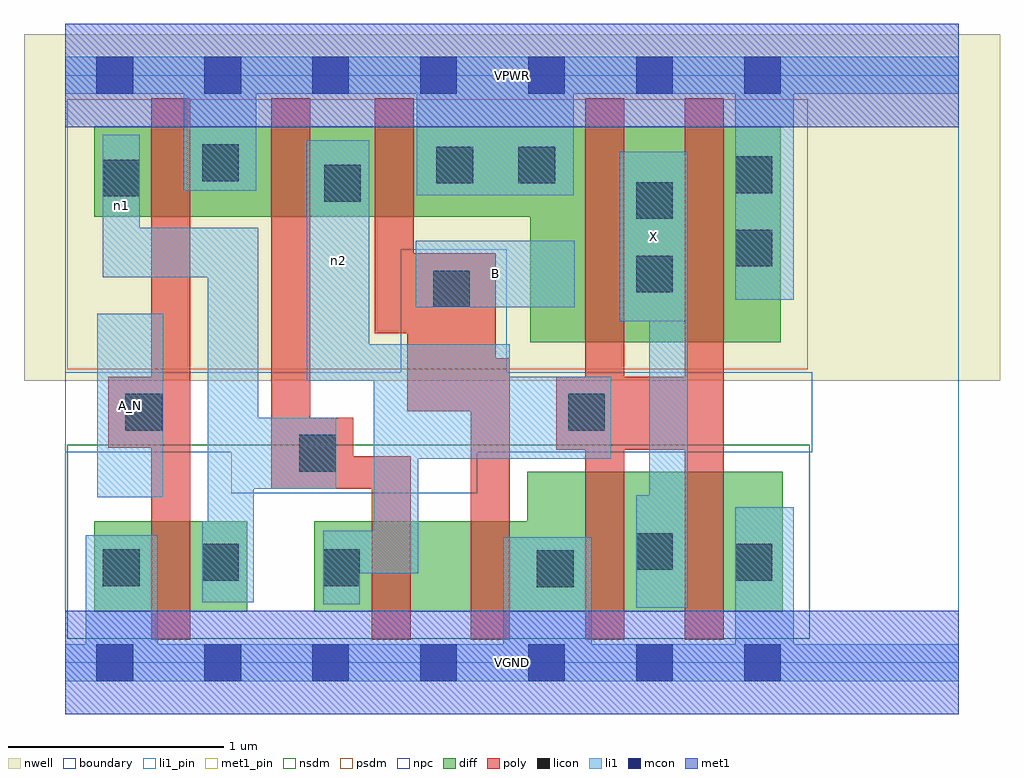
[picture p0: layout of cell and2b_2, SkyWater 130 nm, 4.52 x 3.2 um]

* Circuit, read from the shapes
.subckt and2b_2 A_N B VGND VPWR X n1 n2
XM1 n1 A_N VGND VSUBS sky130_fd_pr__nfet_01v8 w=0.42 l=0.18
XM2 n3 n1 n2 VSUBS sky130_fd_pr__nfet_01v8 w=0.42 l=0.18
XM3 VGND B n3 VSUBS sky130_fd_pr__nfet_01v8 w=0.42 l=0.18
XM4 X n2 VGND VSUBS sky130_fd_pr__nfet_01v8 w=0.65 l=0.18 m=2
XM5 VPWR A_N n1 n4 sky130_fd_pr__pfet_01v8 w=0.42 l=0.18
XM6 n2 n1 VPWR n4 sky130_fd_pr__pfet_01v8 w=0.42 l=0.18
XM7 VPWR B n2 n4 sky130_fd_pr__pfet_01v8 w=0.42 l=0.18
XM8 X n2 VPWR n4 sky130_fd_pr__pfet_01v8 w=1 l=0.18 m=2
.ends

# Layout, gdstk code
import gdstk
lib = gdstk.Library(unit=1e-6, precision=1e-09)
def R(c, l, rs):  # rectangles x0, y0, x1, y1
    for r in rs: c.add(gdstk.rectangle(r[:2], r[2:], *l))
def A(c, l, x, y, w, h, nx, ny, dx, dy):  # array of equal rectangles
    R(c, l, [(x+i*dx, y+j*dy, x+i*dx+w, y+j*dy+h) for i in range(nx) for j in range(ny)])
nwell = (64, 20)
diff = (65, 20)
poly = (66, 20)
licon = (66, 44)
li1_pin = (67, 16)
li1 = (67, 20)
mcon = (67, 44)
met1_pin = (68, 16)
met1 = (68, 20)
nsdm = (93, 44)
psdm = (94, 20)
npc = (95, 20)
boundary = (235, 4)

and2b_2 = lib.new_cell('and2b_2')
R(and2b_2, nwell, [(-0.19,1.305,4.33,2.91), (0,1.305,4.14,2.91)])
R(and2b_2, diff, [(0.135,0.235,0.845,0.655), (1.155,0.235,3.325,0.655), (2.14,0.235,3.325,0.885), (2.155,1.485,3.315,2.485), (0.135,2.065,3.315,2.485)])
R(and2b_2, poly, [(0.4,0.105,0.58,2.615), (1.42,0.105,1.6,0.955), (1.88,0.105,2.06,1.41), (2.41,0.105,2.59,2.615), (2.87,0.105,3.05,2.615), (0.955,0.805,1.335,1.135), (0.955,0.805,1.135,2.615), (0.955,0.805,1.6,0.955), (2.275,0.985,3.05,1.325), (0.2,0.995,0.58,1.325), (1.585,1.165,1.995,1.895), (1.435,1.525,1.615,2.615)])
R(and2b_2, licon, [(2.185,0.35,2.355,0.52), (0.175,0.355,0.345,0.525), (1.195,0.355,1.365,0.525), (0.635,0.38,0.805,0.55), (3.105,0.38,3.275,0.55), (2.645,0.43,2.815,0.6), (1.085,0.885,1.255,1.055), (0.28,1.075,0.45,1.245), (2.33,1.075,2.5,1.245), (1.705,1.645,1.875,1.815), (2.645,1.715,2.815,1.885), (3.105,1.835,3.275,2.005), (2.645,2.055,2.815,2.225), (1.2,2.135,1.37,2.305), (0.175,2.16,0.345,2.33), (3.105,2.175,3.275,2.345), (1.72,2.22,1.89,2.39), (2.1,2.22,2.27,2.39), (0.635,2.23,0.805,2.4)])
R(and2b_2, li1_pin, [(0.15,0.765,0.455,1.615), (2.57,1.58,2.885,2.365), (1.625,1.645,2.36,1.955)])
R(and2b_2, li1, [(0,-0.085,4.14,0.085), (0.095,-0.085,0.43,0.59), (2.03,-0.085,2.44,0.58), (3.105,-0.085,3.375,0.72), (2.645,0.255,2.885,0.775), (2.705,0.255,2.885,2.365), (1.195,0.27,1.365,0.61), (0.635,0.28,0.875,0.655), (0.66,0.28,0.875,2.015), (1.195,0.415,1.635,0.61), (1.43,0.415,1.635,1.475), (0.15,0.765,0.455,1.615), (0.66,0.805,1.255,1.135), (0.66,0.805,0.895,2.015), (1.43,0.945,2.53,1.325), (1.12,1.305,1.41,2.42), (1.12,1.305,2.06,1.475), (2.57,1.58,2.885,2.365), (1.625,1.645,2.36,1.955), (3.105,1.68,3.375,2.805), (0.175,1.785,0.345,2.445), (0.175,1.785,0.895,2.015), (1.63,2.165,2.355,2.805), (0.55,2.185,0.885,2.805), (0,2.635,4.14,2.805)])
A(and2b_2, mcon, 0.145, -0.085, 0.17, 0.17, 7, 2, 0.5, 2.72)
R(and2b_2, met1_pin, [(0,-0.24,4.14,0.24), (0,2.48,4.14,2.96)])
R(and2b_2, met1, [(0,-0.24,4.14,0.24), (0,2.48,4.14,2.96)])
R(and2b_2, nsdm, [(0.01,0.11,3.45,1.01)])
R(and2b_2, psdm, [(0.01,1.36,3.44,2.61)])
R(and2b_2, npc, [(0.77,0.785,1.91,1.345), (0,0.975,3.46,1.345), (1.555,0.975,2.045,1.915)])
R(and2b_2, boundary, [(0,0,4.14,2.72)])
and2b_2.add(gdstk.Label('A_N', (0.302,1.19), layer=67, texttype=5))
and2b_2.add(gdstk.Label('B', (1.992,1.8), layer=67, texttype=5))
and2b_2.add(gdstk.Label('X', (2.727,1.972), layer=67, texttype=5))
and2b_2.add(gdstk.Label('n2', (1.265,1.862), layer=67, texttype=5))
and2b_2.add(gdstk.Label('n1', (0.26,2.115), layer=67, texttype=5))
and2b_2.add(gdstk.Label('VPWR', (2.07,2.72), layer=68, texttype=5))
and2b_2.add(gdstk.Label('VGND', (2.07,0), layer=68, texttype=5))
and2b_2.add(gdstk.Label('A_N', (0.302,1.19), layer=67, texttype=16))
and2b_2.add(gdstk.Label('B', (1.992,1.8), layer=67, texttype=16))
and2b_2.add(gdstk.Label('X', (2.727,1.972), layer=67, texttype=16))
and2b_2.add(gdstk.Label('VPWR', (2.07,2.72), layer=68, texttype=16))
and2b_2.add(gdstk.Label('VGND', (2.07,0), layer=68, texttype=16))

lib.write_gds('and2b_2.gds')
